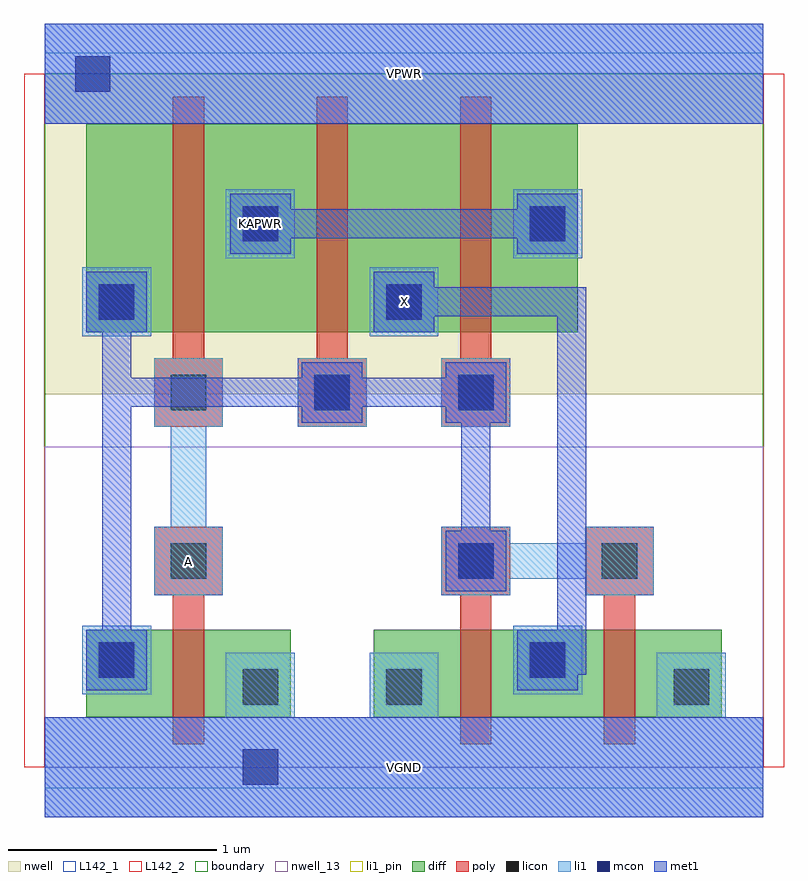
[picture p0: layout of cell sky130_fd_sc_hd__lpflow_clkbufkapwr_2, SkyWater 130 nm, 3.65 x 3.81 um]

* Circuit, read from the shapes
.subckt sky130_fd_sc_hd__lpflow_clkbufkapwr_2 A KAPWR VGND VPWR X
XM1 VGND A n1 VSUBS sky130_fd_pr__nfet_01v8 w=0.42 l=0.15
XM2 X n1 VGND VSUBS sky130_fd_pr__nfet_01v8 w=0.42 l=0.15 m=2
XM3 KAPWR A n1 n2 sky130_fd_pr__pfet_01v8 w=1 l=0.15
XM4 X n1 KAPWR n2 sky130_fd_pr__pfet_01v8 w=1 l=0.15 m=2
.ends

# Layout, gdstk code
import gdstk
lib = gdstk.Library(unit=1e-6, precision=1e-09)
def R(c, l, rs):  # rectangles x0, y0, x1, y1
    for r in rs: c.add(gdstk.rectangle(r[:2], r[2:], *l))
def A(c, l, x, y, w, h, nx, ny, dx, dy):  # array of equal rectangles
    R(c, l, [(x+i*dx, y+j*dy, x+i*dx+w, y+j*dy+h) for i in range(nx) for j in range(ny)])
def P(c, l, *ps):  # polygons
    for p in ps: c.add(gdstk.Polygon(p, *l))
nwell_13 = (64, 13)
nwell = (64, 20)
diff = (65, 20)
poly = (66, 20)
licon = (66, 44)
li1_pin = (67, 16)
li1 = (67, 20)
mcon = (67, 44)
met1 = (68, 20)
L142_1 = (142, 1)
L142_2 = (142, 2)
boundary = (235, 4)

sky130_fd_sc_hd__lpflow_ = lib.new_cell('sky130_fd_sc_hd__lpflow_clkbufkapwr_2')
R(sky130_fd_sc_hd__lpflow_, nwell_13, [(0,0,3.45,1.54)])
R(sky130_fd_sc_hd__lpflow_, nwell, [(0,1.79,3.45,3.33)])
R(sky130_fd_sc_hd__lpflow_, diff, [(0.2,0.24,1.18,0.66), (0.2,0.24,0.615,0.66), (0.615,0.24,1.18,0.66), (1.58,0.24,3.25,0.66), (1.58,0.24,1.995,0.66), (1.995,0.24,2.685,0.66), (2.685,0.24,3.25,0.66), (0.2,2.09,2.56,3.09), (0.2,2.09,0.615,3.09), (0.615,2.09,1.305,3.09), (1.305,2.09,1.995,3.09), (1.995,2.09,2.56,3.09)])
P(sky130_fd_sc_hd__lpflow_, poly, [(0.615,0.11),(0.615,0.825),(0.525,0.825),(0.525,1.155),(0.855,1.155),(0.855,0.825),(0.765,0.825),(0.765,0.11)],
  [(0.525,1.635),(0.525,1.965),(0.615,1.965),(0.615,3.22),(0.765,3.22),(0.765,1.965),(0.855,1.965),(0.855,1.635)],
  [(1.995,0.11),(1.995,0.825),(1.905,0.825),(1.905,1.155),(2.235,1.155),(2.235,0.825),(2.145,0.825),(2.145,0.11)],
  [(2.685,0.11),(2.685,0.825),(2.595,0.825),(2.595,1.155),(2.925,1.155),(2.925,0.825),(2.835,0.825),(2.835,0.11)],
  [(1.215,1.635),(1.215,1.965),(1.305,1.965),(1.305,3.22),(1.455,3.22),(1.455,1.965),(1.545,1.965),(1.545,1.635)],
  [(1.905,1.635),(1.905,1.965),(1.995,1.965),(1.995,3.22),(2.145,3.22),(2.145,1.965),(2.235,1.965),(2.235,1.635)])
A(sky130_fd_sc_hd__lpflow_, licon, 0.605, 1.715, 0.17, 0.17, 3, 1, 0.69, 0)
R(sky130_fd_sc_hd__lpflow_, licon, [(0.95,0.3,1.12,0.47), (1.64,0.3,1.81,0.47), (3.02,0.3,3.19,0.47), (0.26,0.43,0.43,0.6), (2.33,0.43,2.5,0.6), (0.605,0.905,0.775,1.075), (1.985,0.905,2.155,1.075), (2.675,0.905,2.845,1.075), (0.26,2.15,0.43,2.32), (1.64,2.15,1.81,2.32), (0.95,2.525,1.12,2.695), (2.33,2.525,2.5,2.695)])
R(sky130_fd_sc_hd__lpflow_, li1_pin, [(0,-0.24,3.45,0.24), (1.56,2.07,1.89,2.4), (0.87,2.445,1.2,2.775), (0,3.09,3.45,3.57)])
P(sky130_fd_sc_hd__lpflow_, li1_pin, [(0.525,0.825),(0.525,1.155),(0.605,1.155),(0.605,1.635),(0.525,1.635),(0.525,1.965),(0.855,1.965),(0.855,1.635),(0.775,1.635),(0.775,1.155),(0.855,1.155),(0.855,0.825)])
R(sky130_fd_sc_hd__lpflow_, li1, [(0.18,0.35,0.51,0.68), (2.25,0.35,2.58,0.68), (1.215,1.635,1.545,1.965), (1.905,1.635,2.235,1.965), (0.18,2.07,0.51,2.4), (1.56,2.07,1.89,2.4), (0.87,2.445,1.2,2.775), (2.25,2.445,2.58,2.775), (0,3.09,3.45,3.57)])
P(sky130_fd_sc_hd__lpflow_, li1, [(0,-0.24),(0,0.24),(0.87,0.24),(0.87,0.55),(1.2,0.55),(1.2,0.24),(1.56,0.24),(1.56,0.55),(1.89,0.55),(1.89,0.24),(2.94,0.24),(2.94,0.55),(3.27,0.55),(3.27,0.24),(3.45,0.24),(3.45,-0.24)],
  [(0.525,0.825),(0.525,1.155),(0.605,1.155),(0.605,1.635),(0.525,1.635),(0.525,1.965),(0.855,1.965),(0.855,1.635),(0.775,1.635),(0.775,1.155),(0.855,1.155),(0.855,0.825)],
  [(1.905,0.825),(1.905,1.155),(2.235,1.155),(2.235,1.075),(2.595,1.075),(2.595,1.155),(2.925,1.155),(2.925,0.825),(2.595,0.825),(2.595,0.905),(2.235,0.905),(2.235,0.825)])
R(sky130_fd_sc_hd__lpflow_, mcon, [(0.95,-0.085,1.12,0.085), (0.26,0.43,0.43,0.6), (2.33,0.43,2.5,0.6), (1.985,0.905,2.155,1.075), (1.295,1.715,1.465,1.885), (1.985,1.715,2.155,1.885), (0.26,2.15,0.43,2.32), (1.64,2.15,1.81,2.32), (0.95,2.525,1.12,2.695), (2.33,2.525,2.5,2.695), (0.145,3.245,0.315,3.415)])
R(sky130_fd_sc_hd__lpflow_, met1, [(0,-0.24,3.45,0.24), (0,3.09,3.45,3.57)])
P(sky130_fd_sc_hd__lpflow_, met1, [(0.2,0.37),(0.2,0.66),(0.275,0.66),(0.275,2.09),(0.2,2.09),(0.2,2.38),(0.49,2.38),(0.49,2.09),(0.415,2.09),(0.415,1.87),(1.235,1.87),(1.235,1.945),(1.525,1.945),(1.525,1.87),(1.925,1.87),(1.925,1.945),(2.215,1.945),(2.215,1.655),(2.14,1.655),(2.14,1.135),(2.215,1.135),(2.215,0.845),(1.925,0.845),(1.925,1.135),(2,1.135),(2,1.655),(1.925,1.655),(1.925,1.73),(1.525,1.73),(1.525,1.655),(1.235,1.655),(1.235,1.73),(0.415,1.73),(0.415,0.66),(0.49,0.66),(0.49,0.37)],
  [(2.27,0.37),(2.27,0.66),(2.46,0.66),(2.46,2.165),(1.87,2.165),(1.87,2.09),(1.58,2.09),(1.58,2.38),(1.87,2.38),(1.87,2.305),(2.6,2.305),(2.6,0.445),(2.56,0.445),(2.56,0.37)],
  [(0.89,2.465),(0.89,2.755),(1.18,2.755),(1.18,2.68),(2.27,2.68),(2.27,2.755),(2.56,2.755),(2.56,2.465),(2.27,2.465),(2.27,2.54),(1.18,2.54),(1.18,2.465)])
R(sky130_fd_sc_hd__lpflow_, L142_1, [(0,-0.1,3.45,0), (0,3.33,3.45,3.43)])
R(sky130_fd_sc_hd__lpflow_, L142_2, [(-0.1,0,0,3.33), (3.45,0,3.55,3.33)])
R(sky130_fd_sc_hd__lpflow_, boundary, [(0,0,3.45,3.33)])
sky130_fd_sc_hd__lpflow_.add(gdstk.Label('X', (1.725,2.235), layer=67, texttype=5))
sky130_fd_sc_hd__lpflow_.add(gdstk.Label('KAPWR', (1.035,2.61), layer=67, texttype=5))
sky130_fd_sc_hd__lpflow_.add(gdstk.Label('A', (0.69,0.99), layer=67, texttype=5))
sky130_fd_sc_hd__lpflow_.add(gdstk.Label('VGND', (1.725,0), layer=67, texttype=5))
sky130_fd_sc_hd__lpflow_.add(gdstk.Label('VPWR', (1.725,3.33), layer=67, texttype=5))
sky130_fd_sc_hd__lpflow_.add(gdstk.Label('VGND', (1.725,0), layer=68, texttype=5))
sky130_fd_sc_hd__lpflow_.add(gdstk.Label('VPWR', (1.725,3.33), layer=68, texttype=5))

lib.write_gds('sky130_fd_sc_hd__lpflow_clkbufkapwr_2.gds')
